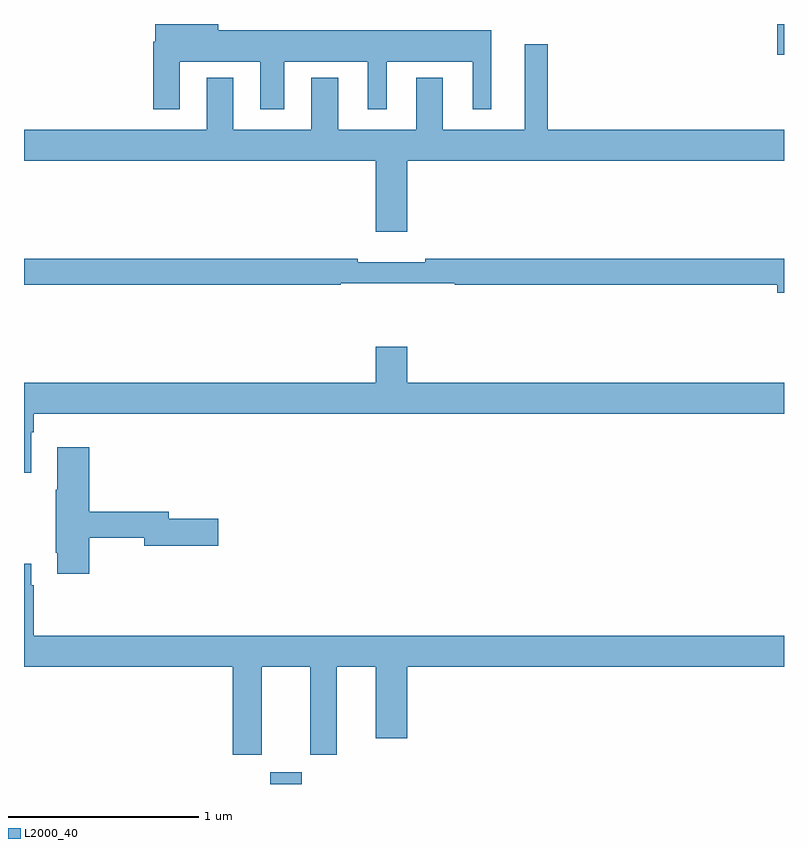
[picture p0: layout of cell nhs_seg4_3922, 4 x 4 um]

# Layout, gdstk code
import gdstk
lib = gdstk.Library(unit=1e-6, precision=1e-09)
def R(c, l, rs):  # rectangles x0, y0, x1, y1
    for r in rs: c.add(gdstk.rectangle(r[:2], r[2:], *l))
def P(c, l, *ps):  # polygons
    for p in ps: c.add(gdstk.Polygon(p, *l))
L2000_40 = (2000, 40)

nhs_seg4_3922 = lib.new_cell('nhs_seg4_3922')
R(nhs_seg4_3922, L2000_40, [(320.297,766.9,320.461,766.963), (322.964,770.738,323,770.9)])
P(nhs_seg4_3922, L2000_40, [(319.819,770.702),(320.243,770.702),(320.243,770.451),(320.371,770.451),(320.371,770.702),(320.81,770.702),(320.81,770.451),(320.908,770.451),(320.908,770.702),(321.362,770.702),(321.362,770.451),(321.46,770.451),(321.46,770.866),(320.023,770.866),(320.023,770.9),(319.691,770.9),(319.691,770.806),(319.679,770.806),(319.679,770.451),(319.819,770.451)],
  [(321.016,770.18),(323,770.18),(323,770.344),(321.757,770.344),(321.757,770.794),(321.635,770.794),(321.635,770.344),(321.205,770.344),(321.205,770.617),(321.065,770.617),(321.065,770.344),(320.653,770.344),(320.653,770.617),(320.513,770.617),(320.513,770.344),(320.101,770.344),(320.101,770.617),(319.961,770.617),(319.961,770.344),(319,770.344),(319,770.18),(320.852,770.18),(320.852,769.806),(321.016,769.806)],
  [(323,769.664),(321.112,769.664),(321.112,769.645),(320.756,769.645),(320.756,769.664),(319,769.664),(319,769.528),(320.668,769.528),(320.668,769.536),(321.268,769.536),(321.268,769.528),(322.964,769.528),(322.964,769.486),(323,769.486)],
  [(319.039,768.752),(319.052,768.752),(319.052,768.848),(323,768.848),(323,769.012),(321.016,769.012),(321.016,769.201),(320.852,769.201),(320.852,769.012),(319,769.012),(319,768.537),(319.039,768.537)],
  [(319.343,768.196),(319.634,768.196),(319.634,768.154),(320.023,768.154),(320.023,768.296),(319.762,768.296),(319.762,768.332),(319.343,768.332),(319.343,768.673),(319.175,768.673),(319.175,768.449),(319.168,768.449),(319.168,768.118),(319.175,768.118),(319.175,768.006),(319.343,768.006)],
  [(320.251,767.516),(320.507,767.516),(320.507,767.055),(320.647,767.055),(320.647,767.516),(320.852,767.516),(320.852,767.142),(321.016,767.142),(321.016,767.516),(323,767.516),(323,767.68),(319.052,767.68),(319.052,767.945),(319.039,767.945),(319.039,768.058),(319,768.058),(319,767.516),(320.099,767.516),(320.099,767.055),(320.251,767.055)])

lib.write_gds('nhs_seg4_3922.gds')
